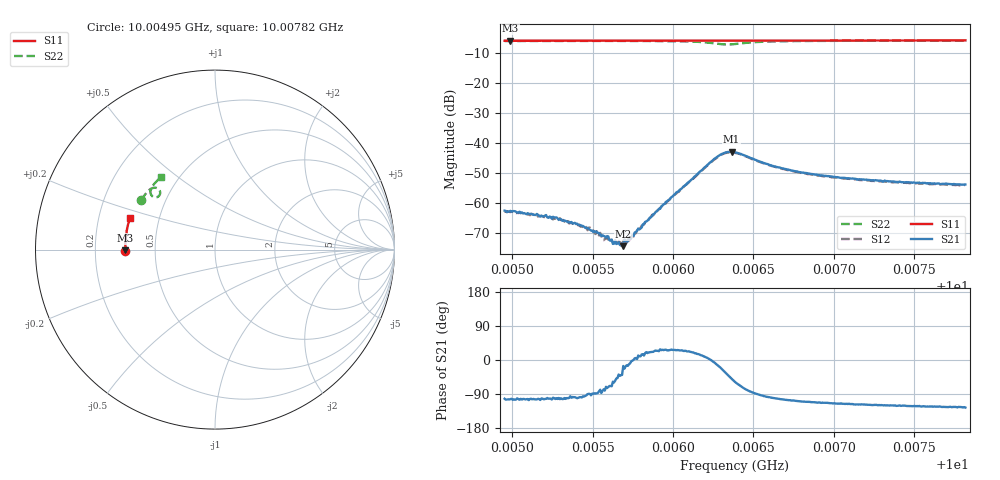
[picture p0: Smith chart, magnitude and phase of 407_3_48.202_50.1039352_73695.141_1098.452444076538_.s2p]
#  HZ  S  RI  R  50.00
! Rohde & Schwarz Vector Network Analyzer
! Rohde-Schwarz,ZNB20-2Port,1311601062101988,3.16
! Created: UTC 3/20/2024, 11:54:17 AM
! freq[Hz]  re:S11  im:S11  re:S21  im:S21  re:S12  im:S12  re:S22  im:S22
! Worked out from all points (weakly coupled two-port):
!   401 points, 10.00495 GHz to 10.00782 GHz, reference 50 ohm
!   highest |S21| = -42.97 dB at 10.00636 GHz (marker M1); lowest = -74.4 dB at 10.00569 GHz (marker M2)
!   lowest |S11| = -6.0 dB at 10.00499 GHz (marker M3), VSWR 3.00, Z = 16.7 - j0.136 ohm
!   |S11| at or under -10 dB: nowhere
!   |S22| runs from -7.3 to -6.0 dB; largest |S21 - S12| = 0.00042
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1.0004953e10  -0.4995 -0.00541  -0.000159 -0.00073  -0.00012 -0.000709  -0.4111 0.2748
1.0004989e10  -0.4994 -0.00306  -0.000172 -0.000719  -0.000122 -0.000693  -0.4097 0.2768
1.0005268e10  -0.5001 0.0151  -0.000129 -0.000562  -9.06e-05 -0.000539  -0.3992 0.2933
1.0005433e10  -0.4998 0.0259  -6.54e-05 -0.000411  -1.18e-06 -0.000412  -0.3922 0.3032
1.000549e10  -0.4999 0.0295  -1.89e-05 -0.000348  1.82e-05 -0.000355  -0.3897 0.3067
1.000554e10  -0.4997 0.0329  4.23e-05 -0.000312  8.16e-05 -0.000276  -0.3872 0.3096
1.0005576e10  -0.4995 0.0351  4.46e-05 -0.000274  9.1e-05 -0.000234  -0.3854 0.3118
1.0005598e10  -0.4994 0.0365  9e-05 -0.000263  9.39e-05 -0.000227  -0.3845 0.3131
1.0005641e10  -0.4994 0.0394  0.000139 -0.000195  0.000147 -0.000178  -0.3823 0.3158
1.0005677e10  -0.4992 0.0416  0.00015 -0.000126  0.00018 -0.000123  -0.3804 0.3183
1.0005691e10  -0.4992 0.0425  0.000184 -5.18e-05  0.000207 -0.000117  -0.3794 0.3189
1.0005741e10  -0.4991 0.0457  0.000261 -1.37e-05  0.000258 -1.58e-05  -0.3768 0.3222
1.0005791e10  -0.4988 0.049  0.000358 6.16e-05  0.000367 7.37e-05  -0.3736 0.3253
1.0005913e10  -0.4982 0.0569  0.000735 0.000317  0.000701 0.000351  -0.3648 0.3333
1.0006264e10  -0.4954 0.0796  0.00552 -0.000881  0.00542 -0.000581  -0.3077 0.3284
1.0006315e10  -0.4947 0.0825  0.00596 -0.00315  0.00597 -0.00282  -0.3069 0.308
1.0006365e10  -0.4945 0.0855  0.00464 -0.00538  0.00481 -0.005  -0.322 0.2925
1.0006386e10  -0.4942 0.0867  0.0037 -0.00589  0.00393 -0.00557  -0.3306 0.2906
1.0006637e10  -0.4922 0.1028  -0.000778 -0.00396  -0.000608 -0.00394  -0.3585 0.3308
1.0006867e10  -0.4895 0.1176  -0.0011 -0.00282  -0.000964 -0.00281  -0.3485 0.3529
1.0007347e10  -0.4823 0.1475  -0.00115 -0.00198  -0.00101 -0.002  -0.3243 0.3815
1.000782e10  -0.4733 0.1767  -0.00118 -0.00165  -0.00103 -0.00168  -0.3003 0.4038
